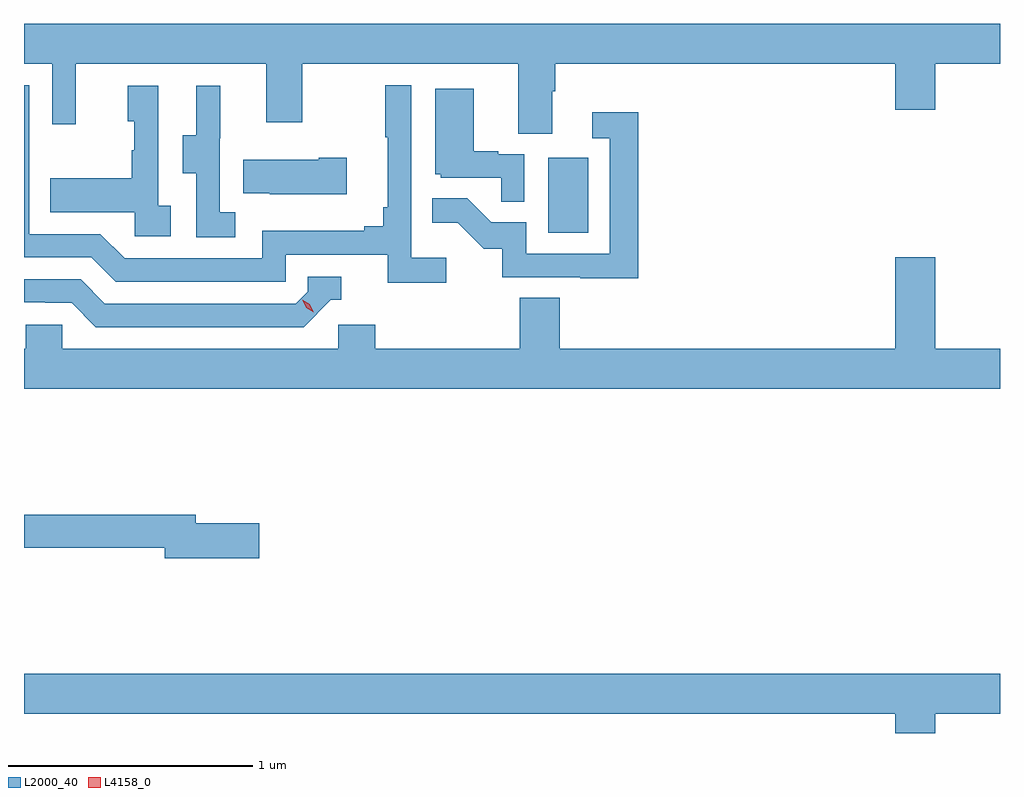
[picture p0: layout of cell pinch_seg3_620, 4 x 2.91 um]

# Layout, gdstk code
import gdstk
lib = gdstk.Library(unit=1e-6, precision=1e-09)
def R(c, l, rs):  # rectangles x0, y0, x1, y1
    for r in rs: c.add(gdstk.rectangle(r[:2], r[2:], *l))
def P(c, l, *ps):  # polygons
    for p in ps: c.add(gdstk.Polygon(p, *l))
L2000_40 = (2000, 40)
L4158_0 = (4158, 0)

pinch_seg3_620 = lib.new_cell('pinch_seg3_620')
R(pinch_seg3_620, L2000_40, [(1050.698,677.58,1050.862,677.887)])
P(pinch_seg3_620, L2000_40, [(1050.715,678.16),(1050.728,678.16),(1050.728,678.272),(1052.12,678.272),(1052.12,678.084),(1052.284,678.084),(1052.284,678.272),(1052.55,678.272),(1052.55,678.436),(1048.55,678.436),(1048.55,678.272),(1048.665,678.272),(1048.665,678.024),(1048.763,678.024),(1048.763,678.272),(1049.543,678.272),(1049.543,678.033),(1049.691,678.033),(1049.691,678.272),(1050.575,678.272),(1050.575,677.986),(1050.715,677.986)],
  [(1050.28,677.476),(1050.138,677.476),(1050.138,678.184),(1050.03,678.184),(1050.03,677.971),(1050.041,677.971),(1050.041,677.683),(1050.022,677.683),(1050.022,677.606),(1049.945,677.606),(1049.945,677.587),(1049.526,677.587),(1049.526,677.475),(1048.962,677.475),(1048.863,677.574),(1048.572,677.574),(1048.572,678.183),(1048.55,678.183),(1048.55,677.478),(1048.826,677.478),(1048.925,677.379),(1049.622,677.379),(1049.622,677.49),(1050.041,677.49),(1050.041,677.374),(1050.28,677.374)],
  [(1049.152,677.69),(1049.1,677.69),(1049.1,678.181),(1048.976,678.181),(1048.976,678.036),(1049.002,678.036),(1049.002,677.918),(1048.992,677.918),(1048.992,677.803),(1048.657,677.803),(1048.657,677.663),(1049.004,677.663),(1049.004,677.565),(1049.152,677.565)],
  [(1049.416,677.663),(1049.352,677.663),(1049.352,677.967),(1049.354,677.967),(1049.354,678.181),(1049.255,678.181),(1049.255,677.979),(1049.201,677.979),(1049.201,677.824),(1049.256,677.824),(1049.256,677.56),(1049.416,677.56)],
  [(1050.6,677.901),(1050.494,677.901),(1050.494,677.914),(1050.394,677.914),(1050.394,678.169),(1050.236,678.169),(1050.236,677.82),(1050.258,677.82),(1050.258,677.805),(1050.505,677.805),(1050.505,677.707),(1050.6,677.707)],
  [(1051.067,678.073),(1050.879,678.073),(1050.879,677.967),(1050.951,677.967),(1050.951,677.493),(1050.609,677.493),(1050.609,677.622),(1050.465,677.622),(1050.367,677.72),(1050.223,677.72),(1050.223,677.621),(1050.327,677.621),(1050.434,677.514),(1050.511,677.514),(1050.511,677.397),(1050.829,677.397),(1050.829,677.392),(1051.067,677.392)],
  [(1049.872,677.886),(1049.759,677.886),(1049.759,677.878),(1049.449,677.878),(1049.449,677.741),(1049.557,677.741),(1049.557,677.738),(1049.872,677.738)],
  [(1052.55,677.104),(1052.284,677.104),(1052.284,677.479),(1052.12,677.479),(1052.12,677.104),(1050.746,677.104),(1050.746,677.312),(1050.581,677.312),(1050.581,677.104),(1049.99,677.104),(1049.99,677.202),(1049.838,677.202),(1049.838,677.104),(1048.707,677.104),(1048.707,677.202),(1048.557,677.202),(1048.557,677.104),(1048.55,677.104),(1048.55,676.94),(1052.55,676.94)],
  [(1049.808,677.304),(1049.851,677.304),(1049.851,677.4),(1049.712,677.4),(1049.712,677.337),(1049.664,677.289),(1048.881,677.289),(1048.782,677.388),(1048.55,677.388),(1048.55,677.295),(1048.638,677.295),(1048.638,677.292),(1048.745,677.292),(1048.844,677.193),(1049.697,677.193)],
  [(1049.515,676.388),(1049.254,676.388),(1049.254,676.424),(1048.55,676.424),(1048.55,676.288),(1049.126,676.288),(1049.126,676.246),(1049.515,676.246)],
  [(1052.284,675.608),(1052.55,675.608),(1052.55,675.772),(1048.55,675.772),(1048.55,675.608),(1052.12,675.608),(1052.12,675.528),(1052.284,675.528)])
P(pinch_seg3_620, L4158_0, [(1049.737,677.253),(1049.706,677.272),(1049.69,677.305),(1049.69,677.305),(1049.69,677.305),(1049.721,677.286),(1049.737,677.253),(1049.737,677.253)])

lib.write_gds('pinch_seg3_620.gds')
